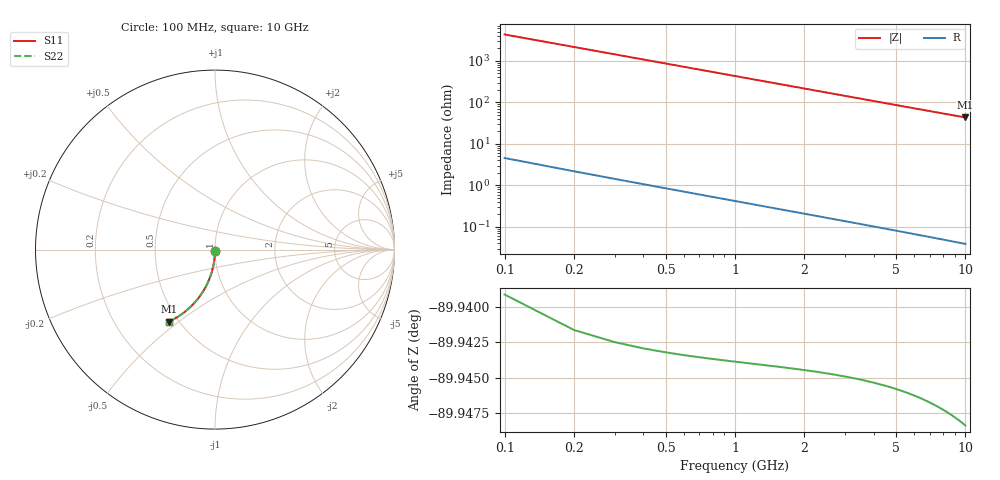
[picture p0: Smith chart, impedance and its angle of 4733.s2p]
# Hz S RI R 50.00
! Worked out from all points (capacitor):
!   100 points, 100 MHz to 10 GHz, reference 50 ohm
!   read as one part in shunt: C = 370 fF near 100 MHz
!   lowest |Z| = 43.3 ohm at 10 GHz (marker M1)
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1e8  9.9e-05 -0.00546  0.9998 -0.00617  0.9998 -0.00617  9.9e-05 -0.00546
2e8  -6.78e-06 -0.0109  0.9997 -0.0123  0.9997 -0.0123  -6.78e-06 -0.0109
3e8  -0.00018 -0.0164  0.9995 -0.0185  0.9995 -0.0185  -0.00018 -0.0164
4e8  -0.000421 -0.0218  0.9993 -0.0247  0.9993 -0.0247  -0.000421 -0.0218
5e8  -0.000729 -0.0273  0.999 -0.0308  0.999 -0.0308  -0.000729 -0.0273
6e8  -0.0011 -0.0327  0.9986 -0.037  0.9986 -0.037  -0.0011 -0.0327
7e8  -0.00155 -0.0381  0.9982 -0.0431  0.9982 -0.0431  -0.00155 -0.0381
8e8  -0.00205 -0.0436  0.9976 -0.0493  0.9976 -0.0493  -0.00205 -0.0436
9e8  -0.00263 -0.049  0.9971 -0.0554  0.9971 -0.0554  -0.00263 -0.049
1.1e9  -0.00398 -0.0598  0.9957 -0.0676  0.9957 -0.0676  -0.00398 -0.0598
1.4e9  -0.0065 -0.0759  0.9932 -0.0859  0.9932 -0.0859  -0.0065 -0.0759
1.8e9  -0.0108 -0.0972  0.9889 -0.11  0.9889 -0.11  -0.0108 -0.0972
2.1e9  -0.0146 -0.1129  0.985 -0.1279  0.985 -0.1279  -0.0146 -0.1129
2.5e9  -0.0207 -0.1336  0.9789 -0.1514  0.9789 -0.1514  -0.0207 -0.1336
2.9e9  -0.0276 -0.1539  0.9718 -0.1745  0.9718 -0.1745  -0.0276 -0.1539
3.4e9  -0.0377 -0.1785  0.9617 -0.2028  0.9617 -0.2028  -0.0377 -0.1785
4.2e9  -0.0565 -0.2161  0.9428 -0.2461  0.9428 -0.2461  -0.0565 -0.2161
5.1e9  -0.0813 -0.2553  0.9177 -0.2918  0.9177 -0.2918  -0.0813 -0.2553
5.9e9  -0.1061 -0.2871  0.8927 -0.3294  0.8927 -0.3294  -0.1061 -0.2871
6.7e9  -0.133 -0.3158  0.8655 -0.3639  0.8655 -0.3639  -0.133 -0.3158
8.4e9  -0.1951 -0.3664  0.8027 -0.4269  0.8027 -0.4269  -0.1951 -0.3664
1e10  -0.2568 -0.401  0.7403 -0.4733  0.7403 -0.4733  -0.2568 -0.401
